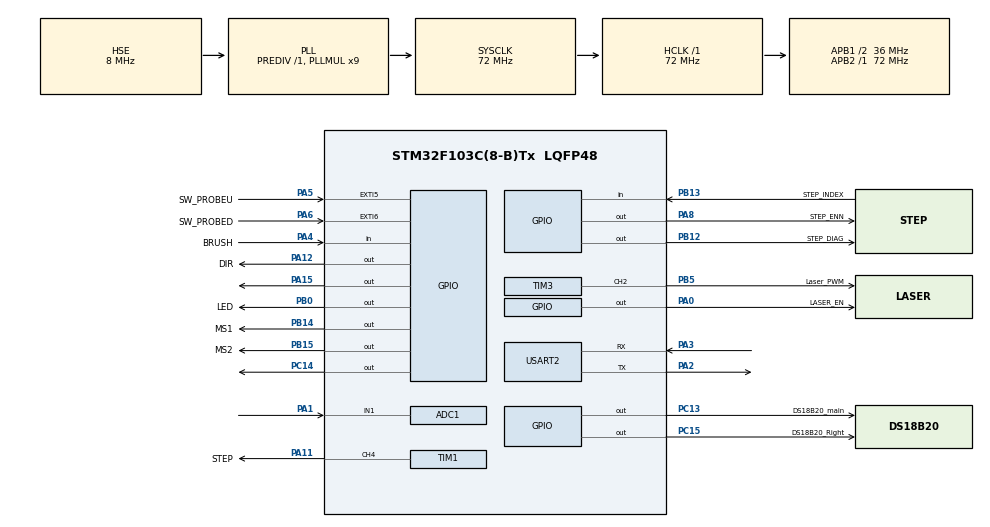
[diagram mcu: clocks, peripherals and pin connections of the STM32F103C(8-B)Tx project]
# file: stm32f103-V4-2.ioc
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ADC1.Channel-6\#ChannelRegularConversion=ADC_CHANNEL_1
ADC1.NbrOfConversionFlag=1
ADC1.Rank-6\#ChannelRegularConversion=1
ADC1.SamplingTime-6\#ChannelRegularConversion=ADC_SAMPLETIME_1CYCLE_5
ADC1.master=1
Mcu.Family=STM32F1
Mcu.Name=STM32F103C(8-B)Tx
Mcu.Package=LQFP48
NVIC.EXTI9_5_IRQn=true\:0\:0\:false\:false\:true\:true\:true\:true
NVIC.PriorityGroup=NVIC_PRIORITYGROUP_4
NVIC.TIM1_CC_IRQn=true\:0\:0\:false\:false\:true\:true\:true\:true
NVIC.TIM1_UP_IRQn=true\:0\:0\:false\:false\:true\:true\:true\:true
NVIC.TIM2_IRQn=true\:0\:0\:false\:false\:true\:true\:true\:true
NVIC.TIM4_IRQn=true\:0\:0\:false\:false\:true\:true\:true\:true
NVIC.USART2_IRQn=true\:0\:0\:false\:false\:true\:true\:true\:true
PA0-WKUP.GPIO_Label=LASER_EN
PA0-WKUP.Signal=GPIO_Output
PA1.Signal=ADCx_IN1
PA11.GPIO_Label=STEP
PA11.Signal=S_TIM1_CH4
PA12.GPIO_Label=DIR
PA12.GPIO_Speed=GPIO_SPEED_FREQ_HIGH
PA12.Signal=GPIO_Output
PA13.Mode=Serial_Wire
PA13.Signal=SYS_JTMS-SWDIO
PA14.Mode=Serial_Wire
PA14.Signal=SYS_JTCK-SWCLK
PA15.GPIO_PuPd=GPIO_PULLDOWN
PA15.Signal=GPIO_Output
PA2.Mode=Asynchronous
PA2.Signal=USART2_TX
PA3.Mode=Asynchronous
PA3.Signal=USART2_RX
PA4.GPIO_Label=BRUSH
PA4.GPIO_PuPd=GPIO_PULLUP
PA4.Signal=GPIO_Input
PA5.GPIO_Label=SW_PROBEU
PA5.GPIO_ModeDefaultEXTI=GPIO_MODE_IT_RISING_FALLING
PA5.GPIO_PuPd=GPIO_PULLUP
PA5.Signal=GPXTI5
PA6.GPIO_Label=SW_PROBED
PA6.GPIO_ModeDefaultEXTI=GPIO_MODE_IT_RISING_FALLING
PA6.GPIO_PuPd=GPIO_PULLUP
PA6.Signal=GPXTI6
PA8.GPIO_Label=STEP_ENN
PA8.GPIO_Speed=GPIO_SPEED_FREQ_HIGH
PA8.Signal=GPIO_Output
PB0.GPIO_Label=LED
PB0.Signal=GPIO_Output
PB12.GPIO_Label=STEP_DIAG
PB12.Signal=GPIO_Output
PB13.GPIO_Label=STEP_INDEX
PB13.Signal=GPIO_Input
PB14.GPIO_Label=MS1
PB14.GPIO_Speed=GPIO_SPEED_FREQ_HIGH
PB14.Signal=GPIO_Output
PB15.GPIO_Label=MS2
PB15.GPIO_Speed=GPIO_SPEED_FREQ_HIGH
PB15.Signal=GPIO_Output
PB5.GPIO_Label=Laser_PWM
PB5.GPIO_Speed=GPIO_SPEED_FREQ_HIGH
PB5.Signal=S_TIM3_CH2
PC13-TAMPER-RTC.GPIO_Label=DS18B20_main
PC13-TAMPER-RTC.GPIO_Speed=GPIO_SPEED_FREQ_HIGH
PC13-TAMPER-RTC.Signal=GPIO_Output
PC14-OSC32_IN.Signal=GPIO_Output
PC15-OSC32_OUT.GPIO_Label=DS18B20_Right
PC15-OSC32_OUT.GPIO_Speed=GPIO_SPEED_FREQ_HIGH
PC15-OSC32_OUT.Signal=GPIO_Output
PD0-OSC_IN.Mode=HSE-External-Oscillator
PD0-OSC_IN.Signal=RCC_OSC_IN
PD1-OSC_OUT.Mode=HSE-External-Oscillator
PD1-OSC_OUT.Signal=RCC_OSC_OUT
ProjectManager.HeapSize=0x200
ProjectManager.StackSize=0x400
ProjectManager.TargetToolchain=MDK-ARM V5.27
RCC.ADCPresc=RCC_ADCPCLK2_DIV6
RCC.AHBFreq_Value=72000000
RCC.APB1CLKDivider=RCC_HCLK_DIV2
RCC.APB1Freq_Value=36000000
RCC.APB1TimFreq_Value=72000000
RCC.APB2Freq_Value=72000000
RCC.APB2TimFreq_Value=72000000
RCC.HCLKFreq_Value=72000000
RCC.PLLMUL=RCC_PLL_MUL9
RCC.PLLSourceVirtual=RCC_PLLSOURCE_HSE
RCC.SYSCLKFreq_VALUE=72000000
RCC.SYSCLKSource=RCC_SYSCLKSOURCE_PLLCLK
RCC.USBFreq_Value=72000000
SH.ADCx_IN1.0=ADC1_IN1,IN1
SH.S_TIM1_CH4.0=TIM1_CH4,PWM Generation4 CH4
SH.S_TIM3_CH2.0=TIM3_CH2,PWM Generation2 CH2
TIM1.Channel-PWM\ Generation4\ CH4=TIM_CHANNEL_4
TIM1.Period=624
TIM1.Prescaler=71
TIM1.Pulse-PWM\ Generation4\ CH4=10
TIM2.Period=100-1
TIM2.Prescaler=7200-1
TIM3.Channel-PWM\ Generation2\ CH2=TIM_CHANNEL_2
TIM3.Period=1000-1
TIM3.Prescaler=72-1
TIM4.Period=100-1
TIM4.Prescaler=7200-1
USART2.VirtualMode=VM_ASYNC
VP_TIM1_VS_ClockSourceINT.Mode=Internal
VP_TIM2_VS_ClockSourceINT.Mode=Internal
VP_TIM3_VS_ClockSourceINT.Mode=Internal
VP_TIM4_VS_ClockSourceINT.Mode=Internal
board=custom

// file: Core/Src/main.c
/* USER CODE BEGIN Header */
/**
  ******************************************************************************
  * @file           : main.c
  * @brief          : Main program body
  ******************************************************************************
  * @attention
  *
  * Copyright (c) 2025 STMicroelectronics.
  * All rights reserved.
  *
  * This software is licensed under terms that can be found in the LICENSE file
  * in the root directory of this software component.
  * If no LICENSE file comes with this software, it is provided AS-IS.
  *
  ******************************************************************************
  */
/* USER CODE END Header */
#include "main.h"
#include "adc.h"
#include "tim.h"
#include "usart.h"
#include "gpio.h"

/* USER CODE BEGIN Includes */
#include "DS18B20.h"
#include "Brush_Led.h"
#include "stm32f1xx_hal.h"
#include "spindle_control.h"
#include "Elemach.h"
#include <string.h>
#include <stdio.h>
#include <stdarg.h>

extern UART_HandleTypeDef huart2;  //串口2的485通信
/* USER CODE END Includes */

/* USER CODE BEGIN PTD */
#ifdef __GNUC__
#define PUTCHAR_PROTOTYPE int __io_putchar(int ch)
#else
#define PUTCHAR_PROTOTYPE int fputc(int ch, FILE *f)
#endif

PUTCHAR_PROTOTYPE
{
    HAL_UART_Transmit(&huart2, (uint8_t *)&ch, 1, HAL_MAX_DELAY);  //打印输出到串口2
    return ch;
}
/* USER CODE END PTD */

/* USER CODE BEGIN PD */
#define FRAME_HEADER_1 0xFE     // 帧头第一个字节
#define FRAME_HEADER_2 0xFE     // 帧头第二个字节
#define FRAME_END 0xFA          // 帧结束字节

// 接收状态枚举
typedef enum {
    RX_STATE_WAIT_HEADER1,      // 等待帧头第一个字节
    RX_STATE_WAIT_HEADER2,      // 等待帧头第二个字节
    RX_STATE_WAIT_LENGTH,       // 等待长度字节
	  RX_STATE_WAIT_ID,           // 等待ID字节
    RX_STATE_WAIT_CMD,          // 等待指令字节
    RX_STATE_WAIT_CONTENT,      // 等待内容字节
    RX_STATE_WAIT_END           // 等待结束字节
} RxState;

volatile RxState rxState = RX_STATE_WAIT_HEADER1;  // 接收状态
uint8_t uart_rxByte;  // 串口接收的单个字节
// 协议帧变量
uint8_t rx_id;
uint8_t rx_cmd;                 // 接收到的指令
uint8_t rx_len;                 // 接收到的长度
uint8_t rx_content[64];         // 接收到的内容
uint8_t rx_content_index;       // 内容索引
volatile uint8_t frameReceived = 0; // 帧接收完成标志
/* USER CODE END PD */

/* USER CODE BEGIN PM */
// 发送数据函数（无需控制方向引脚）
void RS485_SendData(uint8_t *pData, uint16_t Size)
{
    HAL_UART_Transmit(&huart2, pData, Size, 1000);
}

/* USER CODE END PM */

/* USER CODE BEGIN PV */
// 限位中断标志
volatile uint8_t upper_limit_triggered = 0;
volatile uint8_t lower_limit_triggered = 0;

// 限位消抖变量
#define DEBOUNCE_COUNT 2  // 消抖计数阈值 (2 × 10ms = 20ms)
volatile uint8_t upper_limit_raw = 0;      // 上限位原始状态
volatile uint8_t lower_limit_raw = 0;      // 下限位原始状态
volatile uint8_t upper_limit_debounce_counter = 0;  // 上限位消抖计数器
volatile uint8_t lower_limit_debounce_counter = 0;  // 下限位消抖计数器
volatile uint8_t upper_limit_stable = 0;   // 上限位稳定状态
volatile uint8_t lower_limit_stable = 0;   // 下限位稳定状态

// 温度缓存变量
int16_t cached_main_temp = 0;
int16_t cached_left_temp = 0;
int16_t cached_right_temp = 0;
uint8_t temp_ready = 0; // 温度数据就绪标志
uint8_t current_read_sensor = 0; // 当前要读取的传感器索引

// 发送响应帧
void send_response_frame(uint8_t cmd, uint8_t return_len, uint8_t *return_content) {
    uint8_t frame[64];
    uint8_t index = 0;

    // 帧头
    frame[index++] = FRAME_HEADER_1;
    frame[index++] = FRAME_HEADER_2;

    // 返回长度 (ID1字节 + 指令1字节 + 内容n字节 + 结束符1字节)
    frame[index++] = return_len + 3;

    // 舵机ID
    frame[index++] = rx_id;

    // 返回指令
    frame[index++] = cmd;

    // 返回内容
    if (return_content != NULL && return_len > 0) {
        memcpy(&frame[index], return_content, return_len);
        index += return_len;
    }

    // 结束位
    frame[index++] = FRAME_END;

    // 发送响应
    RS485_SendData(frame, index);
}

// 处理接收到的协议帧
void process_protocol_frame(void) {
    uint8_t response_content[1] = {0};
    uint8_t response_len = 1;

// 电机控制指令 (0x01)
if (rx_cmd == 0x01 && rx_content_index >= 3) {
    // 解析指令内容: [方向(1字节)] [速度高字节] [速度低字节]
    uint8_t direction = rx_content[0];
    uint16_t speed_value = (rx_content[1] << 8) | rx_content[2];

    // 边界检查
    if (speed_value > 3000) {
        speed_value = 3000;
    }

    // 检查限位状态（使用中断标志）
    uint8_t allow_motion = 1; // 默认允许运动

    if (direction == 0x01) { // 下降
        if (lower_limit_triggered) {
            allow_motion = 0; // 下限位已触发，不允许下降
        }
    } else if (direction == 0x00) { // 上升
        if (upper_limit_triggered) {
            allow_motion = 0; // 上限位已触发，不允许上升
        }
    }

    if (!allow_motion) {
        // 限位触发，停止电机并返回错误
        Motor_Disable();
        motor_enabled = 0;
        response_content[0] = 0x00; // 限位触发错误
    } else {
        // 设置电机方向和速度
        Motor_SetDirection(direction);
        Motor_SetSpeedFromInput(speed_value);
        Motor_Enable();

        // 更新状态变量
        motor_enabled = 1;
        motor_current_speed = speed_value;
        motor_current_direction = direction;

        response_content[0] = 0x01; // 成功
    }

    // 发送响应帧
    send_response_frame(0x01, response_len, response_content);
    }

		//探针位移指定的脉冲距离（0x02）
		else if (rx_cmd == 0x02 && rx_content_index >= 5) {
        // 先停止任何正在进行的连续运动
//        if (motor_enabled && !motor_distance_mode) {
//            Motor_Disable();
//            motor_enabled = 0;
//        }

        // 解析指令内容: [运动方向] [运动距离高字节] [运动距离低字节] [速度高字节] [速度低字节]
        uint8_t direction = rx_content[0];
        uint16_t distance = (rx_content[1] << 8) | rx_content[2];
        uint16_t speed_value = (rx_content[3] << 8) | rx_content[4];

        // 边界检查
        if (speed_value > 3000) {
            speed_value = 3000;
        }

        // 定距离运动不检查限位，直接启动
        Motor_DistanceMove(direction, distance, speed_value);

        response_content[0] = 0x01; // 成功

        // 发送响应帧
        send_response_frame(0x02, response_len, response_content);
    }
		// 激光PWM控制指令 (0x03)
    else if (rx_cmd == 0x03 && rx_content_index >= 1) {
			   // 设置激光器功率
        laser_set_power_from_byte(rx_content[0]);
         // 返回成功响应
        response_content[0] = 0x01; // 成功
        send_response_frame(0x03, response_len, response_content);
    }

    // LED控制指令 (0x04)
    else if (rx_cmd == 0x04 && rx_content_index >= 1) {
        // 根据内容控制LED
        if (rx_content[0] == 0x01) {
            // 点亮LED
            HAL_GPIO_WritePin(GPIOB, GPIO_PIN_0, GPIO_PIN_SET);
            response_content[0] = 0x01; // 成功响应
        }
        else if (rx_content[0] == 0x00) {
            // 熄灭LED
            HAL_GPIO_WritePin(GPIOB, GPIO_PIN_0, GPIO_PIN_RESET);
            response_content[0] = 0x01; // 成功响应
        }
        else {
            response_content[0] = 0x00; // 失败响应
        }

        // 发送响应帧 (指令码0x04)
        send_response_frame(0x04, response_len, response_content);
    }

		// 激光测距指令（0x05）
		else if (rx_cmd == 0x05 && rx_content_index >= 1) {
        // 根据内容控制激光
        if (rx_content[0] == 0x01) {
					// 激光上电
            HAL_GPIO_WritePin(GPIOA, GPIO_PIN_0, GPIO_PIN_SET);
            response_content[0] = 0x01; // 成功响应
        }
        else if (rx_content[0] == 0x00) {
            // 激光断电
            HAL_GPIO_WritePin(GPIOA, GPIO_PIN_0, GPIO_PIN_RESET);
            response_content[0] = 0x01; // 成功响应
        }
        else {
            response_content[0] = 0x00; // 失败响应
        }

        // 发送响应帧 (指令码0x05)
        send_response_frame(0x05, response_len, response_content);
    }

		 // 状态读取指令 (0x06)
    else if (rx_cmd == 0x06) {
        uint8_t status_response[8]; // 毛刷状态1 + 温度3 + 激光数据4  = 8字节
        uint8_t status_index = 0;

        // 1. 读取毛刷状态
        status_response[status_index++] = Brush1_GetStatus(); // 00=脱落, 01=正常

        // 2. 读取三个温度传感器的温度（取整数值）
        if (!temp_ready) {
        // 温度数据从未读取过
        status_response[status_index++] = 0xFF;
        status_response[status_index++] = 0xFF;
        status_response[status_index++] = 0xFF;
        } else {
        // 返回缓存的温度值（转换为整数）
        status_response[status_index++] = (cached_main_temp == 0) ? 0xFF : (uint8_t)(cached_main_temp / 100);
        status_response[status_index++] = (cached_left_temp == 0) ? 0xFF : (uint8_t)(cached_left_temp / 100);
        status_response[status_index++] = (cached_right_temp == 0) ? 0xFF : (uint8_t)(cached_right_temp / 100);
        }

         // 3. 激光测距数据（目前固定返回00 00 00 00）
        status_response[status_index++] = 0x00;
        status_response[status_index++] = 0x00;
        status_response[status_index++] = 0x00;
        status_response[status_index++] = 0x00;

        // 发送响应帧 (指令码0x06，返回8字节数据)
        send_response_frame(0x06, 8, status_response);
    }
		 // 电机运动状态查询指令 (0x07)
    else if (rx_cmd == 0x07) {
        // 检查电机是否在运动（连续运动或定距离运动）
        if (motor_enabled) {
            response_content[0] = 0x01; // 电机在运动
        } else {
            response_content[0] = 0x00; // 电机停止
        }

        // 发送响应帧
        send_response_frame(0x07, response_len, response_content);
    }

    // 重置接收状态
    rx_content_index = 0;
}

// 串口接收完成回调
void HAL_UART_RxCpltCallback(UART_HandleTypeDef *huart) {
    if (huart->Instance == USART2) {
			uint8_t data = uart_rxByte;

        //防数据丢失：无论状态如何，只要遇到连续两个FE，就重新开始
        static uint8_t prevByte = 0;
        if (prevByte == FRAME_HEADER_1 && data == FRAME_HEADER_2) {
            rxState = RX_STATE_WAIT_LENGTH;
            rx_content_index = 0;
            prevByte = data;
            HAL_UART_Receive_IT(&huart2, &uart_rxByte, 1);
            return;
        }
        prevByte = data;

        switch (rxState) {
            case RX_STATE_WAIT_HEADER1:
                if (data == FRAME_HEADER_1) {
                    rxState = RX_STATE_WAIT_HEADER2;
                }
                break;

            case RX_STATE_WAIT_HEADER2:
                if (data == FRAME_HEADER_2) {
                    rxState = RX_STATE_WAIT_LENGTH;
                } else {
                    rxState = RX_STATE_WAIT_HEADER1;
                }
                break;

            case RX_STATE_WAIT_LENGTH:
                rx_len = data;
                rx_content_index = 0;

                if (rx_len >= 3) {  // 至少包含ID、指令和结束符
                    rxState = RX_STATE_WAIT_ID;  // 新增状态
                } else {
                    rxState = RX_STATE_WAIT_HEADER1;  // 无效长度
                }
                break;

            case RX_STATE_WAIT_ID: //等待ID状态
                rx_id = data;  // 存储接收到的ID
                rxState = RX_STATE_WAIT_CMD;
                break;

            case RX_STATE_WAIT_CMD:
                rx_cmd = data;
                if (rx_len > 3) {  // 接收 (长度-ID-指令-结束符)
                    rxState = RX_STATE_WAIT_CONTENT;
                } else {
                    rxState = RX_STATE_WAIT_END;
                    frameReceived = 1;
                }
                break;

            case RX_STATE_WAIT_CONTENT:
                if (rx_content_index < sizeof(rx_content)) {
                    rx_content[rx_content_index++] = data;
                } else {
                    rxState = RX_STATE_WAIT_HEADER1;  // 缓冲区溢出，重置状态
                }

                // 检查是否接收完所有内容 (长度 = ID1字节 + 指令1字节 + 内容n字节 + 结束符1字节)
                if (rx_content_index >= (rx_len - 3)) {
                    rxState = RX_STATE_WAIT_END;
                }
                break;

            case RX_STATE_WAIT_END:
                if (data == FRAME_END) {  // 完整帧接收完成
                    frameReceived = 1;
                }
                rxState = RX_STATE_WAIT_HEADER1;
                break;

						 default:
                rxState = RX_STATE_WAIT_HEADER1;
                break;
        }

        // 重新启动接收
        HAL_UART_Receive_IT(&huart2, &uart_rxByte, 1);
    }
}

/* USER CODE END PV */

void SystemClock_Config(void);

int main(void)
{

  /* MCU Configuration--------------------------------------------------------*/

  /* Reset of all peripherals, Initializes the Flash interface and the Systick. */
  HAL_Init();

  /* Configure the system clock */
  SystemClock_Config();

  /* Initialize all configured peripherals */
  MX_GPIO_Init();
  MX_USART2_UART_Init();
  MX_TIM3_Init();
  MX_ADC1_Init();
  MX_TIM1_Init();
  MX_TIM2_Init();
  MX_TIM4_Init();
  /* USER CODE BEGIN 2 */
  laser_init();  // 初始化激光器
  DS18B20_Init(DS18B20_MAIN);
  DS18B20_Init(DS18B20_LEFT);
  DS18B20_Init(DS18B20_RIGHT);

	// 设置所有传感器为9位精度（转换时间约94ms）
  DS18B20_SetResolution(DS18B20_MAIN, 9);
  DS18B20_SetResolution(DS18B20_LEFT, 9);
  DS18B20_SetResolution(DS18B20_RIGHT, 9);

	Motor_Init();
  // 初始化限位中断标志（读取当前状态）
  upper_limit_triggered = (HAL_GPIO_ReadPin(SW_PROBEU_GPIO_Port, SW_PROBEU_Pin) == GPIO_PIN_RESET);
  lower_limit_triggered = (HAL_GPIO_ReadPin(SW_PROBED_GPIO_Port, SW_PROBED_Pin) == GPIO_PIN_RESET);
	upper_limit_stable = upper_limit_raw;
  lower_limit_stable = lower_limit_raw;
  upper_limit_triggered = upper_limit_raw;
  lower_limit_triggered = lower_limit_raw;
  upper_limit_debounce_counter = DEBOUNCE_COUNT;
  lower_limit_debounce_counter = DEBOUNCE_COUNT;

  HAL_TIM_Base_Start_IT(&htim1);  // 启用TIM1更新中断（用于脉冲计数）
	HAL_TIM_Base_Start_IT(&htim4);  // 启用TIM4更新中断（用于限位消抖）

  HAL_UART_Receive_IT(&huart2, &uart_rxByte, 1);  // 启动串口2接收中断

  current_read_sensor = 0;  // 初始化温度读取索引

	Motor_ChangeSubdivision(8);  //细分设置
  //HAL_GPIO_WritePin(GPIOA, GPIO_PIN_0, GPIO_PIN_SET);  //启动激光24V电源

  /* USER CODE END 2 */

  /* Infinite loop */
  while (1)
  {

    /* USER CODE BEGIN 3 */
    if(frameReceived) {
        process_protocol_frame();
        frameReceived = 0;
    }

    // 温度读取逻辑：只有在激光测距关闭时才读取温度
    if (HAL_GPIO_ReadPin(GPIOA, GPIO_PIN_0) == GPIO_PIN_RESET) {
        // 激光测距关闭，可以读取温度
        switch(current_read_sensor) {
            case 0:
                // 读取主传感器
                cached_main_temp = (int16_t)(DS18B20_ReadTemp(DS18B20_MAIN) * 100);
                current_read_sensor = 1;
                break;
            case 1:
                // 读取左传感器
                cached_left_temp = (int16_t)(DS18B20_ReadTemp(DS18B20_LEFT) * 100);
                current_read_sensor = 2;
                break;
            case 2:
                // 读取右传感器
                cached_right_temp = (int16_t)(DS18B20_ReadTemp(DS18B20_RIGHT) * 100);
                current_read_sensor = 0;
                temp_ready = 1; // 标记温度数据已就绪
                break;
        }
    } else {
        // 激光测距开启，不读取温度，保持上次的值
		}

  }
  /* USER CODE END 3 */
}

void SystemClock_Config(void)
{
  RCC_OscInitTypeDef RCC_OscInitStruct = {0};
  RCC_ClkInitTypeDef RCC_ClkInitStruct = {0};
  RCC_PeriphCLKInitTypeDef PeriphClkInit = {0};

  /** Initializes the RCC Oscillators according to the specified parameters
  * in the RCC_OscInitTypeDef structure.
  */
  RCC_OscInitStruct.OscillatorType = RCC_OSCILLATORTYPE_HSE;
  RCC_OscInitStruct.HSEState = RCC_HSE_ON;
  RCC_OscInitStruct.HSEPredivValue = RCC_HSE_PREDIV_DIV1;
  RCC_OscInitStruct.HSIState = RCC_HSI_ON;
  RCC_OscInitStruct.PLL.PLLState = RCC_PLL_ON;
  RCC_OscInitStruct.PLL.PLLSource = RCC_PLLSOURCE_HSE;
  RCC_OscInitStruct.PLL.PLLMUL = RCC_PLL_MUL9;
  if (HAL_RCC_OscConfig(&RCC_OscInitStruct) != HAL_OK)
  {
    Error_Handler();
  }

  /** Initializes the CPU, AHB and APB buses clocks
  */
  RCC_ClkInitStruct.ClockType = RCC_CLOCKTYPE_HCLK|RCC_CLOCKTYPE_SYSCLK
                              |RCC_CLOCKTYPE_PCLK1|RCC_CLOCKTYPE_PCLK2;
  RCC_ClkInitStruct.SYSCLKSource = RCC_SYSCLKSOURCE_PLLCLK;
  RCC_ClkInitStruct.AHBCLKDivider = RCC_SYSCLK_DIV1;
  RCC_ClkInitStruct.APB1CLKDivider = RCC_HCLK_DIV2;
  RCC_ClkInitStruct.APB2CLKDivider = RCC_HCLK_DIV1;

  if (HAL_RCC_ClockConfig(&RCC_ClkInitStruct, FLASH_LATENCY_2) != HAL_OK)
  {
    Error_Handler();
  }
  PeriphClkInit.PeriphClockSelection = RCC_PERIPHCLK_ADC;
  PeriphClkInit.AdcClockSelection = RCC_ADCPCLK2_DIV6;
  if (HAL_RCCEx_PeriphCLKConfig(&PeriphClkInit) != HAL_OK)
  {
    Error_Handler();
  }
}

/* USER CODE BEGIN 4 */
// 定时器更新中断回调函数 - （较于上一版合并处理了TIM1和TIM4）
void HAL_TIM_PeriodElapsedCallback(TIM_HandleTypeDef *htim)
{
    if (htim->Instance == TIM1) {
        // TIM1：用于脉冲计数（定距离运动模式）
        if (motor_distance_mode && motor_enabled) {
            current_pulse_count++;

            // 检查是否达到目标脉冲数
            if (current_pulse_count >= target_pulse_count) {
                // 达到目标距离，停止电机
                Motor_Disable();
                motor_enabled = 0;
                motor_distance_mode = 0;
            }
        }
    }
    else if (htim->Instance == TIM4) {
        // TIM4：用于限位消抖处理（10ms周期）
        // 上限位消抖处理
        if (upper_limit_debounce_counter < DEBOUNCE_COUNT) {
            upper_limit_debounce_counter++;

            if (upper_limit_debounce_counter == DEBOUNCE_COUNT) {
                // 消抖完成，更新稳定状态
                uint8_t new_upper_state = upper_limit_raw;

                if (new_upper_state != upper_limit_stable) {
                    upper_limit_stable = new_upper_state;
                    upper_limit_triggered = new_upper_state;

                    // 如果限位触发且电机正在上升，立即停止（仅限连续运动模式）
                    if (upper_limit_triggered && !motor_distance_mode && motor_enabled && motor_current_direction == 0x00) {
                        Motor_Disable();
                        motor_enabled = 0;
                        motor_current_speed = 0;
                    }
                }
            }
        }

        // 下限位消抖处理
        if (lower_limit_debounce_counter < DEBOUNCE_COUNT) {
            lower_limit_debounce_counter++;

            if (lower_limit_debounce_counter == DEBOUNCE_COUNT) {
                // 消抖完成，更新稳定状态
                uint8_t new_lower_state = lower_limit_raw;

                if (new_lower_state != lower_limit_stable) {
                    lower_limit_stable = new_lower_state;
                    lower_limit_triggered = new_lower_state;

                    // 如果限位触发且电机正在下降，立即停止（仅限连续运动模式）
                    if (lower_limit_triggered && !motor_distance_mode && motor_enabled && motor_current_direction == 0x01) {
                        Motor_Disable();
                        motor_enabled = 0;
                        motor_current_speed = 0;
                    }
                }
            }
        }
    }
}

// 外部中断回调函数 - 仅记录原始状态
void HAL_GPIO_EXTI_Callback(uint16_t GPIO_Pin)
{
    switch(GPIO_Pin) {
        case SW_PROBEU_Pin:  // 上限位 PA5
            upper_limit_raw = (HAL_GPIO_ReadPin(SW_PROBEU_GPIO_Port, SW_PROBEU_Pin) == GPIO_PIN_RESET);
            upper_limit_debounce_counter = 0; // 重置消抖计数器
            break;

        case SW_PROBED_Pin:  // 下限位 PA6
            lower_limit_raw = (HAL_GPIO_ReadPin(SW_PROBED_GPIO_Port, SW_PROBED_Pin) == GPIO_PIN_RESET);
            lower_limit_debounce_counter = 0; // 重置消抖计数器
            break;
    }
}
/* USER CODE END 4 */

void Error_Handler(void)
{
  __disable_irq();
  while (1)
  {
  }
}
